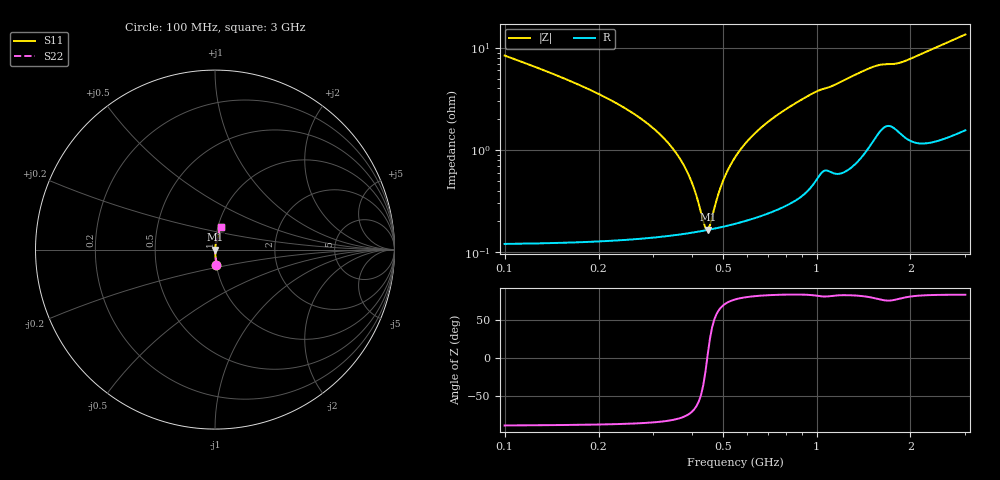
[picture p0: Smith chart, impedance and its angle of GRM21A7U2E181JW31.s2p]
!Murata Part Number: GRM21A7U2E181JW31
!These Parameters are Measured in Series Mode Connection
!Data Generated on Mar 30, 2021
!  o--ll--o
!Port1  Port2
!  o------o
!Operation Temp=25[degC], DC Bias Voltage=0[V]
!Freq. Start=100[MHz] Stop=3[GHz] 401[Steps]
# Hz S RI R 50
!Freq.(Hz) S11(Real) S11(Imag) S21(Real) S21(Imag) S12(Real) S12(Imag) S22(Real) S22(Imag)
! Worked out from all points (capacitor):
!   401 points, 100 MHz to 3 GHz, reference 50 ohm
!   read as one part in series: C = 180 pF near 114.5 MHz
!   lowest |Z| = 165 mohm at 448 MHz (marker M1)
!   series resonance near 446.4 MHz, so ESL is about 710 pH
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1e8  0.00818 -0.0832  0.9918 0.0832  0.9918 0.0832  0.00818 -0.0832
2.8125e8  0.00172 -0.0189  0.9983 0.0189  0.9983 0.0189  0.00172 -0.0189
3.3925e8  0.00156 -0.011  0.9984 0.011  0.9984 0.011  0.00156 -0.011
3.8275e8  0.00155 -0.00612  0.9984 0.00612  0.9984 0.00612  0.00155 -0.00612
4.045e8  0.00157 -0.00391  0.9984 0.00391  0.9984 0.00391  0.00157 -0.00391
4.335e8  0.00162 -0.00116  0.9984 0.00116  0.9984 0.00116  0.00162 -0.00116
4.4075e8  0.00163 -0.000501  0.9984 0.000501  0.9984 0.000501  0.00163 -0.000501
4.48e8  0.00165 0.000147  0.9984 -0.000147  0.9984 -0.000147  0.00165 0.000147
4.625e8  0.00168 0.00141  0.9983 -0.00141  0.9983 -0.00141  0.00168 0.00141
4.915e8  0.00176 0.00384  0.9982 -0.00384  0.9982 -0.00384  0.00176 0.00384
5.1325e8  0.00183 0.00558  0.9982 -0.00558  0.9982 -0.00558  0.00183 0.00558
5.4225e8  0.00193 0.0078  0.9981 -0.0078  0.9981 -0.0078  0.00193 0.0078
5.8575e8  0.00212 0.011  0.9979 -0.011  0.9979 -0.011  0.00212 0.011
6.655e8  0.00252 0.0164  0.9975 -0.0164  0.9975 -0.0164  0.00252 0.0164
7.7425e8  0.00325 0.0233  0.9967 -0.0233  0.9967 -0.0233  0.00325 0.0233
9.4825e8  0.00526 0.0338  0.9947 -0.0338  0.9947 -0.0338  0.00526 0.0338
1.0715e9  0.00781 0.0392  0.9922 -0.0392  0.9922 -0.0392  0.00781 0.0392
1.55e9  0.0173 0.0632  0.9827 -0.0632  0.9827 -0.0632  0.0173 0.0632
1.81825e9  0.0196 0.0665  0.9804 -0.0665  0.9804 -0.0665  0.0196 0.0665
2.03575e9  0.0178 0.0768  0.9822 -0.0768  0.9822 -0.0768  0.0178 0.0768
2.5215e9  0.0232 0.1024  0.9768 -0.1024  0.9768 -0.1024  0.0232 0.1024
3e9  0.0323 0.1279  0.9677 -0.1279  0.9677 -0.1279  0.0323 0.1279
